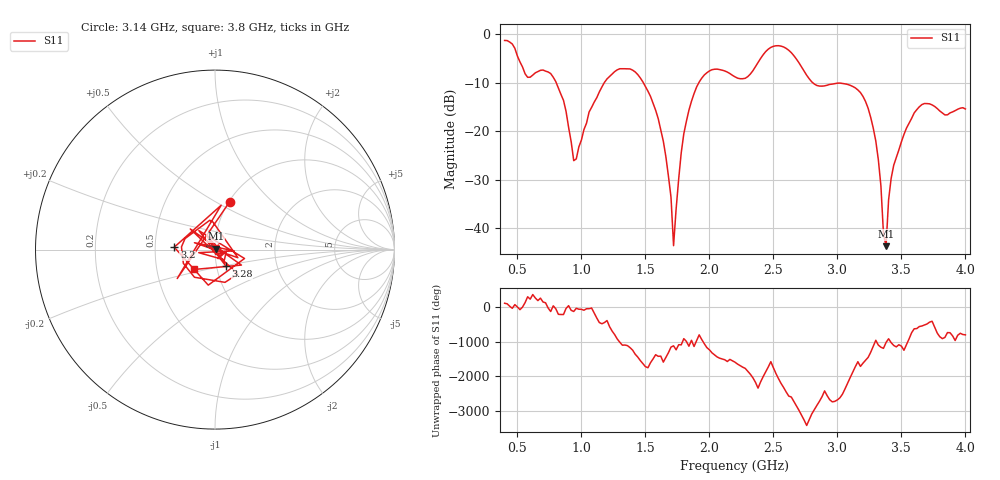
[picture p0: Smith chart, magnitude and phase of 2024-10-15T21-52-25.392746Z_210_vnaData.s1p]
! Created with skrf (http://scikit-rf.org).
# Hz S RI R 50.0
!freq ReS11 ImS11
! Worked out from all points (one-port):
!   181 points, 400 MHz to 4 GHz, reference 50 ohm
!   lowest |S11| = -43.7 dB at 3.38 GHz (marker M1), VSWR 1.01, Z = 50.4 + j0.542 ohm
!   |S11| at or under -10 dB: 802.7 MHz to 1.179 GHz (376.7 MHz wide, 38 % of centre); 1.483 GHz to 1.918 GHz (435 MHz wide, 25.6 % of centre); 2.806 GHz to end of sweep
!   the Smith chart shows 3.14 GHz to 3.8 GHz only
!   S11 on the Smith chart (normalised r, x): 3.14 GHz: 1.01, +0.58; 3.2 GHz: 0.63, +0.02; 3.28 GHz: 1.11, -0.20; 3.8 GHz: 0.77, -0.18
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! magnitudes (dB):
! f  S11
! 400 MHz  -1.3
! 760 MHz  -8.2
! 860 MHz  -13.7
! 940 MHz  -26.1
! 1.06 GHz  -16.1
! 1.3 GHz  -7.2
! 1.44 GHz  -8.3
! 1.6 GHz  -17.4
! 1.7 GHz  -33.6
! 1.72 GHz  -43.6
! 1.76 GHz  -29.9
! 1.82 GHz  -18.0
! 1.92 GHz  -9.9
! 2.2 GHz  -8.8
! 2.5 GHz  -2.5
! 2.66 GHz  -4.5
! 2.84 GHz  -10.6
! 3.1 GHz  -10.6
! 3.14 GHz  -11.1
! 3.2 GHz  -12.9
! 3.28 GHz  -19.4
! 3.32 GHz  -25.9
! 3.36 GHz  -41.2
! 3.38 GHz  -43.7
! 3.42 GHz  -29.7
! 3.56 GHz  -18.4
! 3.8 GHz  -15.9
! 4 GHz  -15.4
